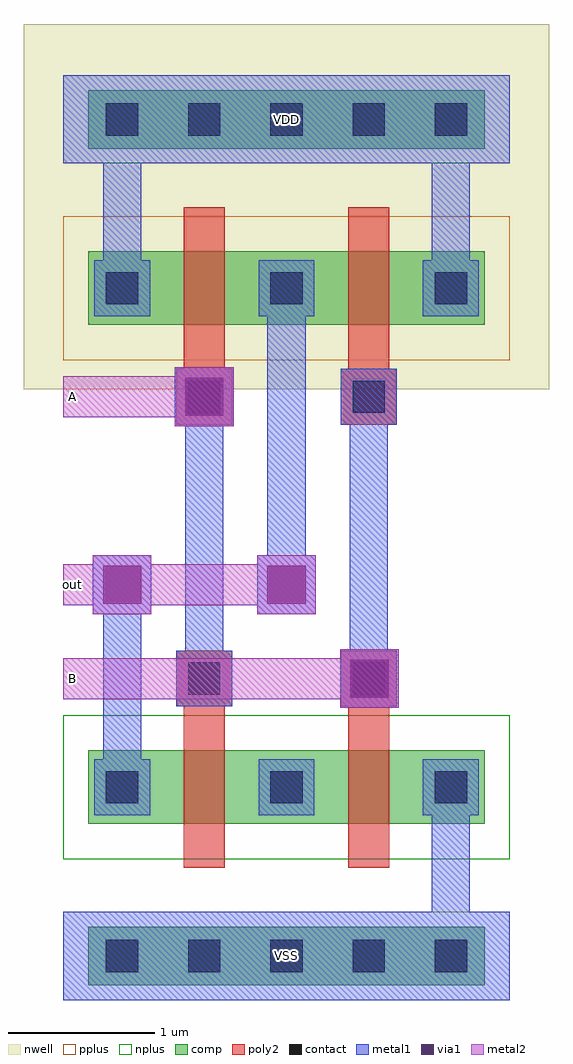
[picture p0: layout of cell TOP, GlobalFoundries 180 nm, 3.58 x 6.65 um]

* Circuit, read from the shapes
.subckt TOP A B VDD VSS out
XM1 n1 A out VSS nfet_03v3 w=0.5u l=0.28u
XM2 VSS B n1 VSS nfet_03v3 w=0.5u l=0.28u
XM3 out A VDD VDD pfet_03v3 w=0.5u l=0.28u
XM4 VDD B out VDD pfet_03v3 w=0.5u l=0.28u
.ends

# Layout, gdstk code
import gdstk
lib = gdstk.Library(unit=1e-6, precision=5e-09)
def R(c, l, rs):  # rectangles x0, y0, x1, y1
    for r in rs: c.add(gdstk.rectangle(r[:2], r[2:], *l))
def A(c, l, x, y, w, h, nx, ny, dx, dy):  # array of equal rectangles
    R(c, l, [(x+i*dx, y+j*dy, x+i*dx+w, y+j*dy+h) for i in range(nx) for j in range(ny)])
nwell = (21, 0)
comp = (22, 0)
poly2 = (30, 0)
pplus = (31, 0)
nplus = (32, 0)
contact = (33, 0)
metal1 = (34, 0)
via1 = (35, 0)
metal2 = (36, 0)

pfet = lib.new_cell('pfet')
R(pfet, nwell, [(-0.9,-0.44,1.56,0.94)])
R(pfet, comp, [(-0.46,0,0,0.5), (0,0,0.66,0.5), (0.66,0,1.12,0.5)])
R(pfet, poly2, [(0.14,-0.68,0.52,-0.3), (0.19,-0.3,0.47,0.8)])
R(pfet, pplus, [(-0.63,-0.24,1.29,0.74)])
R(pfet, contact, [(0.22,-0.6,0.44,-0.38), (-0.34,0.14,-0.12,0.36), (0.78,0.14,1,0.36)])
R(pfet, metal1, [(0.14,-0.68,0.52,-0.3), (-0.42,0.06,-0.04,0.44), (0.7,0.06,1.08,0.44)])

via_dev = lib.new_cell('via_dev')
R(via_dev, metal1, [(0,0,0.4,0.4)])
R(via_dev, via1, [(0.07,0.07,0.33,0.33)])
R(via_dev, metal2, [(0,0,0.4,0.4)])

top = lib.new_cell('TOP')
R(top, nwell, [(0.69,7.01,4.27,8.12)])
R(top, comp, [(1.13,1.57,3.83,1.97), (1.13,2.67,2.71,3.17), (1.13,2.67,1.59,3.17), (2.25,2.67,3.83,3.17), (2.25,2.67,2.71,3.17), (2.25,2.67,2.71,3.17), (3.37,2.67,3.83,3.17), (1.13,7.27,3.83,7.67)])
R(top, poly2, [(1.78,2.37,2.06,3.47), (2.9,2.37,3.18,3.47), (1.73,3.47,2.11,3.85), (2.85,3.47,3.23,3.85)])
R(top, pplus, [(0.96,1.47,4,2.07)])
R(top, nplus, [(0.96,2.43,2.88,3.41), (2.08,2.43,4,3.41), (0.96,7.17,4,7.77)])
A(top, contact, 1.25, 1.66, 0.22, 0.22, 5, 2, 0.56, 5.7)
R(top, contact, [(1.25,2.81,1.47,3.03), (2.37,2.81,2.59,3.03), (2.37,2.81,2.59,3.03), (3.49,2.81,3.71,3.03), (1.81,3.55,2.03,3.77), (2.93,3.55,3.15,3.77)])
A(top, metal1, 1.16, 1.57, 0.4, 0.4, 5, 2, 0.56, 5.7)
R(top, metal1, [(1.17,2.73,1.55,3.11), (2.29,2.73,2.67,3.11), (2.29,2.73,2.67,3.11), (3.41,2.73,3.79,3.11), (1.73,3.47,2.11,3.85), (2.85,3.47,3.23,3.85)])
top.add(gdstk.FlexPath([(0.96,4.3),(2.68,4.3)], 0.28, ends="flush", simple_path=True, layer=36, datatype=0))  # metal2
top.add(gdstk.FlexPath([(0.96,5.58),(2.12,5.58)], 0.28, ends="flush", simple_path=True, layer=36, datatype=0))  # metal2
top.add(gdstk.FlexPath([(0.96,3.66),(3.23,3.66)], 0.28, ends="flush", simple_path=True, layer=36, datatype=0))  # metal2
top.add(gdstk.FlexPath([(3.6,2.07),(3.6,3.11)], 0.26, ends="flush", simple_path=True, layer=34, datatype=0))  # metal1
top.add(gdstk.FlexPath([(1.36,2.73),(1.36,4.44)], 0.26, ends="flush", simple_path=True, layer=34, datatype=0))  # metal1
top.add(gdstk.FlexPath([(0.96,7.47),(4,7.47)], 0.6, ends="flush", simple_path=True, layer=34, datatype=0))  # metal1
top.add(gdstk.FlexPath([(0.96,1.77),(4,1.77)], 0.6, ends="flush", simple_path=True, layer=34, datatype=0))  # metal1
top.add(gdstk.FlexPath([(1.36,6.13),(1.36,7.17)], 0.26, ends="flush", simple_path=True, layer=34, datatype=0))  # metal1
top.add(gdstk.FlexPath([(3.6,6.13),(3.6,7.17)], 0.26, ends="flush", simple_path=True, layer=34, datatype=0))  # metal1
top.add(gdstk.FlexPath([(2.48,6.51),(2.48,4.16)], 0.26, ends="flush", simple_path=True, layer=34, datatype=0))  # metal1
top.add(gdstk.FlexPath([(1.92,3.47),(1.92,5.77)], 0.26, ends="flush", simple_path=True, layer=34, datatype=0))  # metal1
top.add(gdstk.FlexPath([(3.04,3.47),(3.04,5.77)], 0.26, ends="flush", simple_path=True, layer=34, datatype=0))  # metal1
top.add(gdstk.Reference(pfet, (1.59,6.07)))
top.add(gdstk.Reference(pfet, (2.71,6.07)))
top.add(gdstk.Reference(via_dev, (2.28,4.1)))
top.add(gdstk.Reference(via_dev, (1.16,4.1)))
top.add(gdstk.Reference(via_dev, (2.845,3.46)))
top.add(gdstk.Reference(via_dev, (1.72,5.38)))
top.add(gdstk.Label('out', (1.02,4.3), layer=36, texttype=10))
top.add(gdstk.Label('A', (1.02,5.58), layer=36, texttype=10))
top.add(gdstk.Label('B', (1.02,3.66), layer=36, texttype=10))
top.add(gdstk.Label('VDD', (2.48,7.47), layer=34, texttype=10))
top.add(gdstk.Label('VSS', (2.48,1.77), layer=34, texttype=10))

lib.write_gds('TOP.gds')
